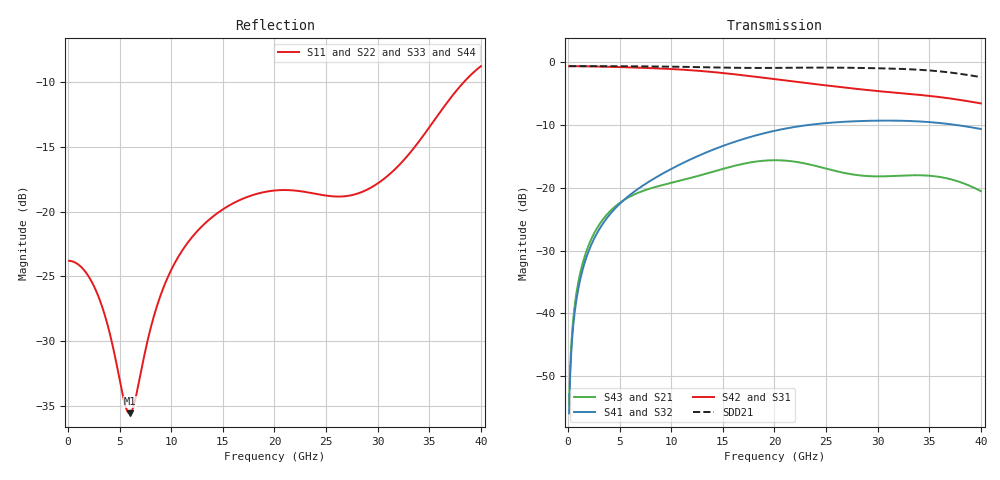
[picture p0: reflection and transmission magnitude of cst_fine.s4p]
! E_s8_L1L8_p1000_round_g2: pair L1→L8, pitch 1 mm, two round antipads, 2 GND vias
! stackup: 8-layer 1.6 mm FR-4 (generic)
! ports: 1 P near, 2 N near, 3 P far, 4 N far
! CST Studio Suite 2025.5 Release from 2025-05-30, time domain (FIT, hexahedral, PBA), 404096 mesh cells, 90 s
! mesh: {'lpw': 30.0, 'lpb': 30.0, 'minstep': 0.0, 'ratio': 20}; ports: port 1 (face); port 2 (face); port 3 (face); port 4 (face)
! interpolated from CST's 1001 samples to the case grid
# Hz S RI R 50
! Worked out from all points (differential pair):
!   400 points, 100 MHz to 40 GHz, reference 50 ohm
!   strongest paths, dB at 100 MHz, 10.1 GHz, 20.1 GHz, 30.1 GHz, 40 GHz:
!     S42: -0.6, -1.1, -2.7, -4.6, -6.5
!     S31: -0.6, -1.1, -2.7, -4.6, -6.5
!     S41: -55.9, -16.9, -10.9, -9.3, -10.6
!     S32: -55.9, -16.9, -10.9, -9.3, -10.6
!     S43: -54.6, -19.2, -15.6, -18.2, -20.5
!     S21: -54.6, -19.2, -15.6, -18.2, -20.5
!   taken as a pair (ports 2,1 in; 4,3 out), SDD21 dB: -0.6, -0.7, -0.9, -0.9, -2.3
!   lowest |S11| = -35.6 dB at 6 GHz (marker M1), VSWR 1.03, Z = 48.9 + j1.26 ohm
!   |S11| at or under -10 dB: start of sweep to 38.34 GHz
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1e8  -0.0646 0.00221  0.00057 0.00178  0.934 -0.036  -0.000176 -0.00158
     0.00057 0.00178  -0.0646 0.00221  -0.000176 -0.00158  0.934 -0.036
     0.934 -0.036  -0.000176 -0.00158  -0.0646 0.00221  0.00057 0.00178
     -0.000176 -0.00158  0.934 -0.036  0.00057 0.00178  -0.0646 0.00221
6e9  -0.0106 0.0129  0.0539 -0.0661  -0.6095 -0.6808  -0.0546 0.069
     0.0539 -0.0661  -0.0106 0.0129  -0.0546 0.069  -0.6095 -0.6808
     -0.6095 -0.6808  -0.0546 0.069  -0.0106 0.0129  0.0539 -0.0661
     -0.0546 0.069  -0.6095 -0.6808  0.0539 -0.0661  -0.0106 0.0129
1.21e10  0.0376 0.0712  -0.12 0.0184  -0.0611 0.8632  0.1701 -0.0277
         -0.12 0.0184  0.0376 0.0712  0.1701 -0.0277  -0.0611 0.8632
         -0.0611 0.8632  0.1701 -0.0277  0.0376 0.0712  -0.12 0.0184
         0.1701 -0.0277  -0.0611 0.8632  -0.12 0.0184  0.0376 0.0712
2e10  -0.0128 -0.12  0.1641 -0.0264  0.1515 -0.7214  -0.2744 0.0777
      0.1641 -0.0264  -0.0128 -0.12  -0.2744 0.0777  0.1515 -0.7214
      0.1515 -0.7214  -0.2744 0.0777  -0.0128 -0.12  0.1641 -0.0264
      -0.2744 0.0777  0.1515 -0.7214  0.1641 -0.0264  -0.0128 -0.12
2.86e10  -0.0583 0.1045  -0.1104 0.0585  -0.0953 0.6005  0.2466 -0.2367
         -0.1104 0.0585  -0.0583 0.1045  0.2466 -0.2367  -0.0953 0.6005
         -0.0953 0.6005  0.2466 -0.2367  -0.0583 0.1046  -0.1104 0.0585
         0.2466 -0.2367  -0.0953 0.6005  -0.1104 0.0585  -0.0583 0.1046
3.35e10  0.141 0.1051  0.1107 0.0605  0.5545 -0.053  -0.324 -0.1047
         0.1107 0.0605  0.141 0.1051  -0.324 -0.1047  0.5545 -0.053
         0.5545 -0.053  -0.324 -0.1047  0.141 0.1051  0.1107 0.0605
         -0.324 -0.1047  0.5545 -0.053  0.1107 0.0605  0.141 0.1051
4e10  0.0859 -0.3543  -0.0762 -0.0554  -0.3971 -0.2548  0.2208 0.1954
      -0.0762 -0.0554  0.0859 -0.3543  0.2208 0.1954  -0.3971 -0.2548
      -0.3971 -0.2548  0.2208 0.1954  0.0859 -0.3543  -0.0762 -0.0554
      0.2208 0.1954  -0.3971 -0.2548  -0.0762 -0.0554  0.0859 -0.3543
